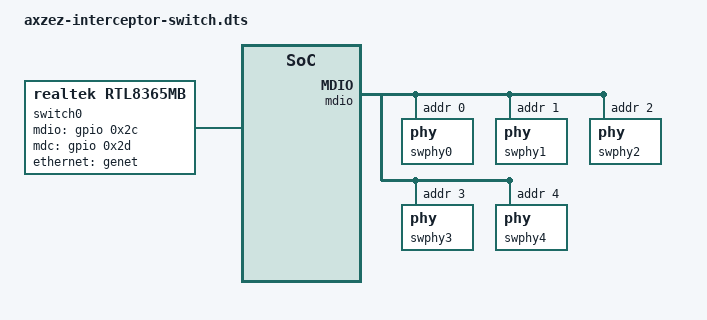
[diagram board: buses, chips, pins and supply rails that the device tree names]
// Axzez Interceptor Switch
/dts-v1/;
/plugin/;

/ {
        fragment@0 {
                target-path = "/";
                __overlay__ {
                        switch0: switch0 {
                                compatible = "realtek,rtl8365mb";
                                dsa,member = <0x00 0x00>;
                                mdio-gpios = <&gpio 0x2c 0x06>;
                                mdc-gpios = <&gpio 0x2d 0x06>;

                                ports {
                                        #address-cells = <0x01>;
                                        #size-cells = <0x00>;
                                        port@0 {
                                                reg = <0x00>;
                                                label = "cpu";
                                                phy-mode = "internal";
                                                phy-handle = <&swphy0>;
                                                dsa-tag-protocol = "rtl8_4t";
                                                ethernet = <&genet>;
                                        };
                                        switch0_port1: port@1 {
                                                reg = <0x01>;
                                                label = "swp0";
                                                phy-mode = "internal";
                                                phy-handle = <&swphy1>;
                                        };
                                        switch0_port2: port@2 {
                                                reg = <0x02>;
                                                label = "swp1";
                                                phy-mode = "internal";
                                                phy-handle = <&swphy2>;
                                        };
                                        switch0_port3: port@3 {
                                                reg = <0x03>;
                                                label = "swp2";
                                                phy-mode = "internal";
                                                phy-handle = <&swphy3>;
                                        };
                                        switch0_port4: port@4 {
                                                reg = <0x04>;
                                                label = "swp3";
                                                phy-mode = "internal";
                                                phy-handle = <&swphy4>;
                                        };

                                        switch0_ext1: port@6 {
                                                reg = <0x06>;
                                                label = "ext1";
                                                phy-mode = "rgmii";
                                                tx-internal-delay-ps = <0x7d0>;
                                                rx-internal-delay-ps = <0x00>;
                                                fixed-link {
                                                        speed = <0x3e8>;
                                                        full-duplex;
                                                };
                                        };

                                        switch0_ext2: port@7 {
                                                reg = <0x07>;
                                                label = "ext2";
                                                phy-mode = "rgmii";
                                                tx-internal-delay-ps = <0x7d0>;
                                                rx-internal-delay-ps = <0x00>;
                                                fixed-link {
                                                        speed = <0x3e8>;
                                                        full-duplex;
                                                };
                                        };
                                };

                                mdio {
                                        compatible = "realtek,smi-mdio";
                                        #address-cells = <0x01>;
                                        #size-cells = <0x00>;
                                        swphy0: phy@0 {
                                                reg = <0x00>;
                                        };
                                        swphy1: phy@1 {
                                                reg = <0x01>;
                                        };
                                        swphy2: phy@2 {
                                                reg = <0x02>;
                                        };
                                        swphy3: phy@3 {
                                                reg = <0x03>;
                                        };
                                        swphy4: phy@4 {
                                                reg = <0x04>;
                                        };
                                };
                        };
                };
        };

        __overrides__ {
                port1name = <&switch0_port1>,"label";
                port2name = <&switch0_port2>,"label";
                port3name = <&switch0_port3>,"label";
                port4name = <&switch0_port4>,"label";
        };
};
